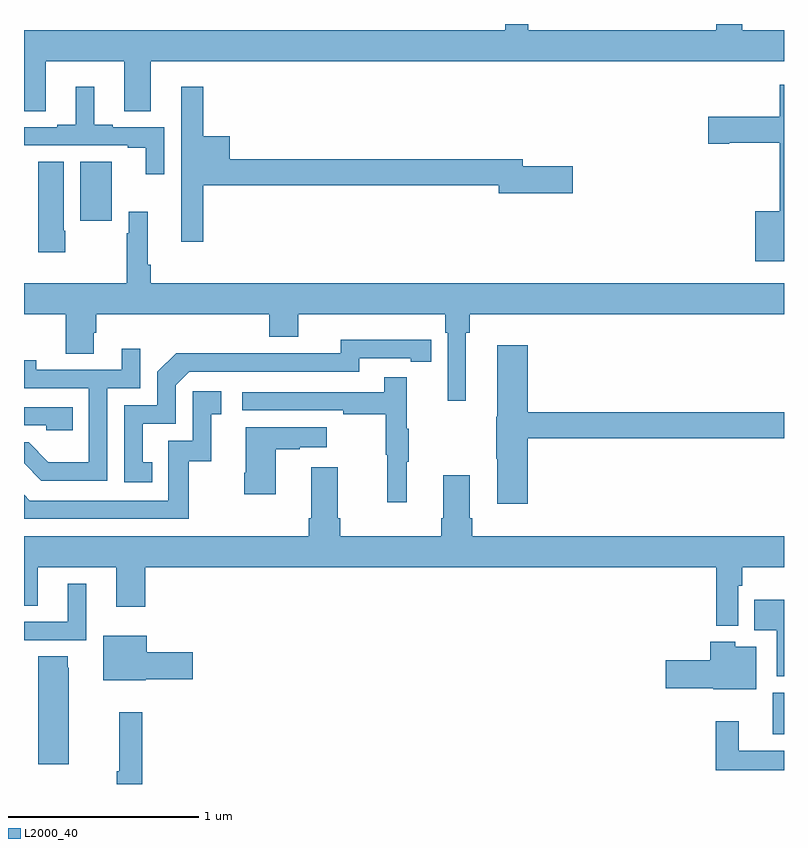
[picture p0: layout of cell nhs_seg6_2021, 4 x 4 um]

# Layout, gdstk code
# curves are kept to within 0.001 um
import gdstk
lib = gdstk.Library(unit=1e-6, precision=1e-09)
def R(c, l, rs):  # rectangles x0, y0, x1, y1
    for r in rs: c.add(gdstk.rectangle(r[:2], r[2:], *l))
def P(c, l, *ps):  # polygons
    for p in ps: c.add(gdstk.Polygon(p, *l))
L2000_40 = (2000, 40)

nhs_seg6_2021 = lib.new_cell('nhs_seg6_2021')
R(nhs_seg6_2021, L2000_40, [(234.941,975.761,235,975.981), (231.296,978.465,231.463,978.776)])
P(nhs_seg6_2021, L2000_40, [(231.115,979.304),(231.527,979.304),(231.527,979.042),(231.667,979.042),(231.667,979.304),(235,979.304),(235,979.468),(234.779,979.468),(234.779,979.5),(234.643,979.5),(234.643,979.468),(233.653,979.468),(233.653,979.5),(233.532,979.5),(233.532,979.468),(231,979.468),(231,979.042),(231.115,979.042)],
  [(235,979.18),(234.978,979.18),(234.978,979.011),(234.6,979.011),(234.6,978.869),(234.712,978.869),(234.712,978.874),(234.978,978.874),(234.978,978.514),(234.848,978.514),(234.848,978.251),(235,978.251)],
  [(231.738,978.957),(231.466,978.957),(231.466,978.97),(231.37,978.97),(231.37,979.171),(231.272,979.171),(231.272,978.97),(231.176,978.97),(231.176,978.957),(231,978.957),(231,978.861),(231.545,978.861),(231.545,978.849),(231.641,978.849),(231.641,978.708),(231.738,978.708)],
  [(231.944,978.652),(233.498,978.652),(233.498,978.61),(233.887,978.61),(233.887,978.752),(233.626,978.752),(233.626,978.788),(232.084,978.788),(232.084,978.91),(231.944,978.91),(231.944,979.171),(231.828,979.171),(231.828,978.675),(231.827,978.675),(231.827,978.354),(231.944,978.354)],
  [(231.216,978.412),(231.208,978.412),(231.208,978.776),(231.074,978.776),(231.074,978.3),(231.216,978.3)],
  [(233.326,977.876),(233.345,977.876),(233.345,977.972),(235,977.972),(235,978.136),(231.668,978.136),(231.668,978.232),(231.65,978.232),(231.65,978.511),(231.552,978.511),(231.552,978.398),(231.54,978.398),(231.54,978.136),(231,978.136),(231,977.972),(231.22,977.972),(231.22,977.764),(231.367,977.764),(231.367,977.874),(231.38,977.874),(231.38,977.972),(232.292,977.972),(232.292,977.855),(232.444,977.855),(232.444,977.972),(233.216,977.972),(233.216,977.876),(233.229,977.876),(233.229,977.517),(233.326,977.517)],
  [(231.674,977.193),(231.625,977.193),(231.625,977.397),(231.798,977.397),(231.798,977.598),(231.87,977.67),(232.764,977.67),(232.764,977.742),(233.036,977.742),(233.036,977.722),(233.144,977.722),(233.144,977.838),(232.668,977.839),(232.668,977.766),(232.208,977.766),(232.208,977.768),(231.8,977.768),(231.702,977.67),(231.702,977.493),(231.528,977.493),(231.528,977.088),(231.674,977.088)],
  [(233.651,977.32),(235,977.32),(235,977.456),(233.651,977.456),(233.651,977.809),(233.492,977.809),(233.492,977.433),(233.485,977.433),(233.485,977.212),(233.492,977.212),(233.492,976.974),(233.651,976.974)],
  [(231.438,977.583),(231.612,977.583),(231.612,977.791),(231.515,977.791),(231.515,977.679),(231.064,977.679),(231.064,977.731),(231,977.731),(231,977.583),(231.342,977.583),(231.342,977.194),(231.128,977.194),(231.024,977.298),(231,977.298),(231,977.189),(231.092,977.097),(231.438,977.097)],
  [(233.015,977.195),(233.026,977.195),(233.026,977.369),(233.015,977.369),(233.015,977.641),(232.897,977.641),(232.897,977.562),(232.149,977.562),(232.149,977.466),(232.681,977.466),(232.681,977.446),(232.905,977.446),(232.905,977.232),(232.912,977.232),(232.912,976.983),(233.015,976.983)],
  [(231.868,977.199),(231.986,977.199),(231.986,977.445),(232.039,977.445),(232.039,977.566),(231.888,977.566),(231.888,977.307),(231.759,977.307),(231.759,976.992),(231.03,976.992),(231,977.022),(231,976.896),(231.868,976.896)],
  [(231.257,977.484),(231,977.484),(231,977.388),(231.117,977.388),(231.117,977.361),(231.257,977.361)],
  [(232.324,977.263),(232.451,977.263),(232.451,977.273),(232.594,977.273),(232.594,977.377),(232.166,977.377),(232.166,977.137),(232.159,977.137),(232.159,977.025),(232.324,977.025)],
  [(232.651,976.9),(232.651,977.167),(232.511,977.167),(232.511,976.9),(232.499,976.9),(232.499,976.804),(231,976.804),(231,976.438),(231.073,976.438),(231.073,976.64),(231.485,976.64),(231.485,976.434),(231.638,976.434),(231.638,976.64),(234.643,976.64),(234.643,976.334),(234.759,976.334),(234.759,976.544),(234.779,976.544),(234.779,976.64),(235,976.64),(235,976.804),(233.36,976.804),(233.36,976.9),(233.347,976.9),(233.347,977.125),(233.207,977.125),(233.207,976.9),(233.195,976.9),(233.195,976.804),(232.664,976.804),(232.664,976.9)],
  [(231.328,976.555),(231.23,976.555),(231.23,976.353),(231,976.353),(231,976.257),(231.328,976.257)],
  [(235,976.471),(234.844,976.471),(234.844,976.31),(234.962,976.31),(234.962,976.066),(235,976.066)],
  [(231.642,976.052),(231.889,976.052),(231.889,976.194),(231.646,976.194),(231.646,976.279),(231.416,976.279),(231.416,976.046),(231.642,976.046)],
  [(234.853,976.222),(234.744,976.222),(234.744,976.249),(234.611,976.249),(234.611,976.151),(234.378,976.151),(234.378,976.004),(234.627,976.004),(234.627,975.998),(234.853,975.998)],
  [(231.235,976.113),(231.229,976.113),(231.229,976.172),(231.074,976.172),(231.074,975.603),(231.235,975.603)],
  [(231.623,975.877),(231.502,975.877),(231.502,975.568),(231.487,975.568),(231.487,975.5),(231.623,975.5)],
  [(235,975.676),(234.763,975.676),(234.763,975.829),(234.642,975.829),(234.642,975.572),(235,975.572)])

lib.write_gds('nhs_seg6_2021.gds')
